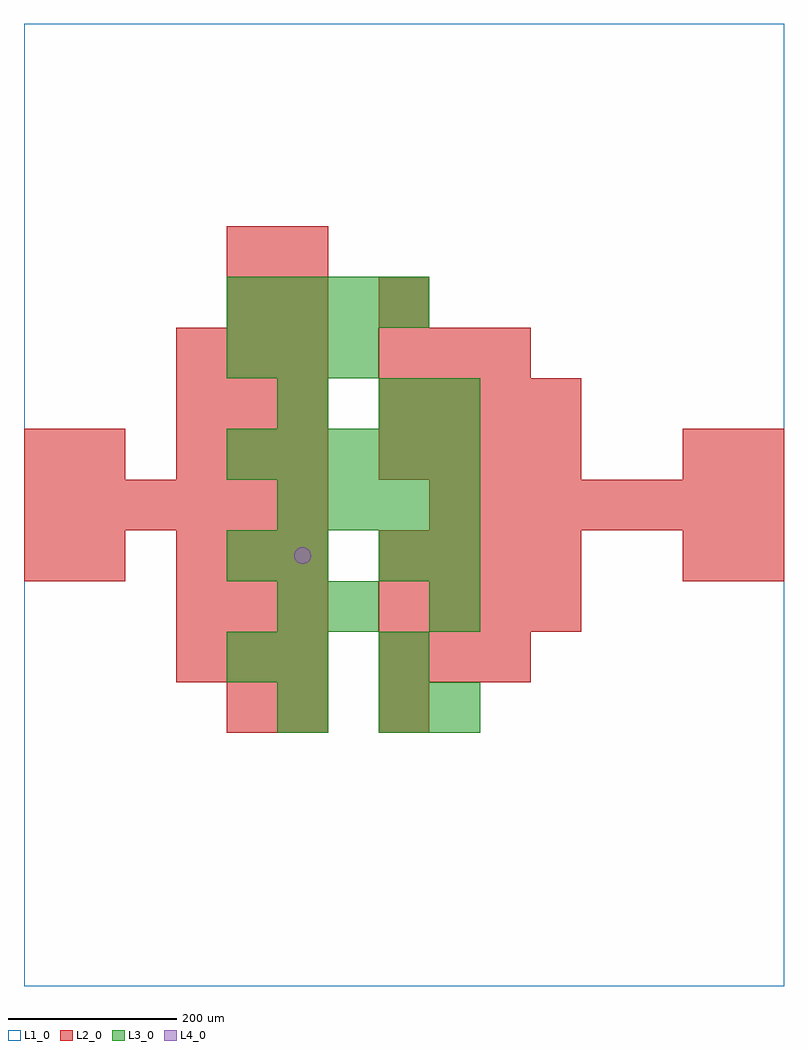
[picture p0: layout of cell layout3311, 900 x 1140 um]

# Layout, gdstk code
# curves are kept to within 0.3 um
import gdstk
lib = gdstk.Library(unit=1e-6, precision=1e-09)
def R(c, l, rs):  # rectangles x0, y0, x1, y1
    for r in rs: c.add(gdstk.rectangle(r[:2], r[2:], *l))
def A(c, l, x, y, w, h, nx, ny, dx, dy):  # array of equal rectangles
    R(c, l, [(x+i*dx, y+j*dy, x+i*dx+w, y+j*dy+h) for i in range(nx) for j in range(ny)])
def P(c, l, *ps):  # polygons
    for p in ps: c.add(gdstk.Polygon(p, *l))
L1_0 = (1, 0)
L2_0 = (2, 0)
L3_0 = (3, 0)
L4_0 = (4, 0)

layout3311 = lib.new_cell('layout3311')
R(layout3311, L1_0, [(0,0,900,1140)])
A(layout3311, L2_0, 180, 360, 60, 60, 3, 3, 60, 60)
A(layout3311, L2_0, 420, 360, 60, 60, 3, 2, 60, 360)
A(layout3311, L2_0, 420, 420, 60, 60, 4, 2, 60, 60)
A(layout3311, L2_0, 0, 540, 60, 60, 6, 1, 60, 0)
A(layout3311, L2_0, 480, 540, 60, 60, 7, 1, 60, 0)
A(layout3311, L2_0, 180, 600, 60, 60, 3, 3, 60, 60)
A(layout3311, L2_0, 420, 600, 60, 60, 4, 2, 60, 60)
R(layout3311, L2_0, [(240,300,300,360), (300,300,360,360), (420,300,480,360), (0,480,60,540), (60,480,120,540), (780,480,840,540), (840,480,900,540), (0,600,60,660), (60,600,120,660), (780,600,840,660), (840,600,900,660), (240,780,300,840), (300,780,360,840), (420,780,480,840), (240,840,300,900), (300,840,360,900)])
A(layout3311, L3_0, 300, 300, 60, 60, 1, 4, 0, 60)
A(layout3311, L3_0, 300, 540, 60, 60, 4, 1, 60, 0)
A(layout3311, L3_0, 240, 600, 60, 60, 5, 1, 60, 0)
A(layout3311, L3_0, 240, 720, 60, 60, 3, 1, 60, 0)
A(layout3311, L3_0, 240, 780, 60, 60, 4, 1, 60, 0)
R(layout3311, L3_0, [(420,300,480,360), (480,300,540,360), (240,360,300,420), (420,360,480,420), (360,420,420,480), (480,420,540,480), (240,480,300,540), (420,480,480,540), (480,480,540,540), (300,660,360,720), (420,660,480,720), (480,660,540,720)])
P(layout3311, L4_0, [(340,510),(339.239,513.827),(337.071,517.071),(333.827,519.239),(330,520),(326.173,519.239),(322.929,517.071),(320.761,513.827),(320,510),(320.761,506.173),(322.929,502.929),(326.173,500.761),(330,500),(333.827,500.761),(337.071,502.929),(339.239,506.173)])

lib.write_gds('layout3311.gds')
